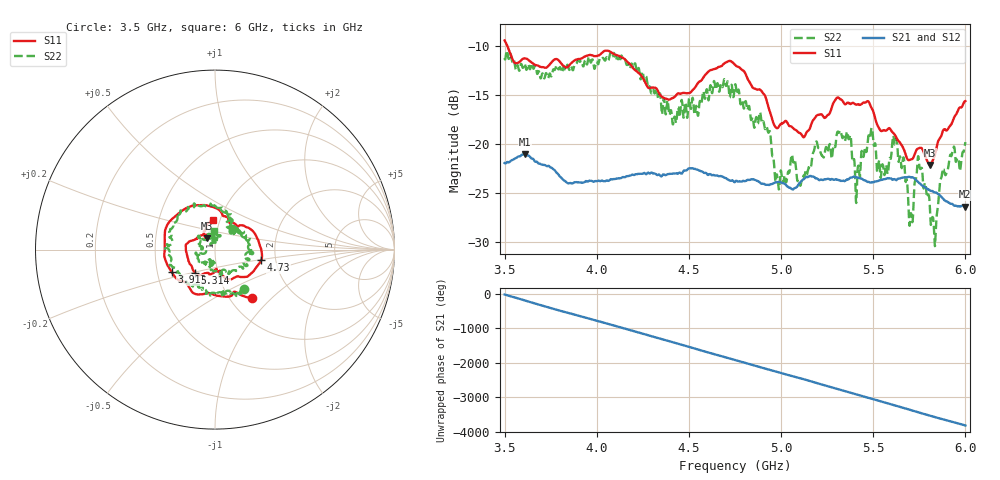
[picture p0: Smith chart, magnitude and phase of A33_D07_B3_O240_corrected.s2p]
! Created with skrf 1.9.0 (http://scikit-rf.org).
# Hz S RI R 50.0
!freq ReS11 ImS11 ReS21 ImS21 ReS12 ImS12 ReS22 ImS22
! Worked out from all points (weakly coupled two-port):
!   1601 points, 3.5 GHz to 6 GHz, reference 50 ohm
!   highest |S21| = -21.07 dB at 3.609 GHz (marker M1); lowest = -26.4 dB at 5.997 GHz (marker M2)
!   lowest |S11| = -22.2 dB at 5.808 GHz (marker M3), VSWR 1.17, Z = 45.3 + j5.75 ohm
!   |S11| at or under -10 dB: 3.515 GHz to end of sweep
!   |S22| runs from -30.5 to -10.5 dB; largest |S21 - S12| = 0.00099
!   S11 on the Smith chart (normalised r, x): 3.5 GHz: 1.25, -0.76; 3.913 GHz: 0.59, -0.16; 4.73 GHz: 1.67, -0.21; 5.314 GHz: 0.78, -0.21; 6 GHz: 0.92, +0.31
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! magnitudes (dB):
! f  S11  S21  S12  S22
! 3.5 GHz  -9.4  -22.0  -22.0  -11.2
! 3.609 GHz  -11.3  -21.1  -21.1  -11.8
! 3.913 GHz  -11.3  -23.9  -23.9  -11.5
! 3.917 GHz  -11.3  -24.0  -23.9  -11.5
! 4.334 GHz  -14.7  -23.1  -23.1  -15.4
! 4.73 GHz  -11.6  -23.8  -23.7  -14.1
! 4.75 GHz  -11.9  -23.9  -23.8  -14.0
! 4.93 GHz  -16.1  -24.2  -24.1  -18.8
! 4.98 GHz  -18.4  -23.9  -23.9  -23.4
! 5.167 GHz  -17.8  -23.3  -23.3  -21.7
! 5.314 GHz  -15.3  -23.7  -23.7  -18.9
! 5.414 GHz  -16.0  -23.4  -23.5  -22.9
! 5.484 GHz  -16.1  -24.0  -23.9  -19.1
! 5.584 GHz  -18.4  -23.5  -23.5  -22.1
! 5.619 GHz  -19.1  -23.6  -23.6  -20.0
! 5.705 GHz  -21.6  -23.4  -23.4  -27.1
! 5.753 GHz  -20.4  -24.1  -24.0  -22.5
! 5.808 GHz  -22.2  -24.8  -24.7  -26.7
! 5.836 GHz  -21.0  -25.0  -24.9  -30.4
! 5.873 GHz  -18.9  -25.5  -25.4  -23.0
! 5.997 GHz  -15.7  -26.4  -26.3  -20.1
! 6 GHz  -15.6  -26.4  -26.3  -19.8
